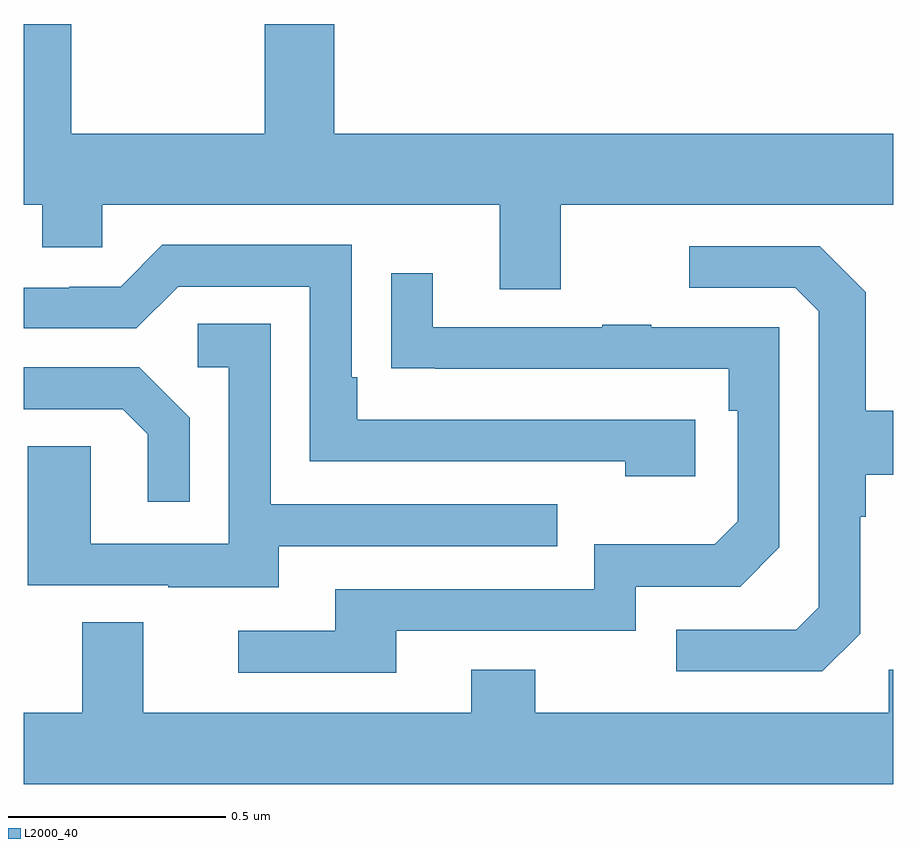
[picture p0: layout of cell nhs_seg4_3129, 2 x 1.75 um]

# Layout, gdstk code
import gdstk
lib = gdstk.Library(unit=1e-6, precision=1e-09)
def P(c, l, *ps):  # polygons
    for p in ps: c.add(gdstk.Polygon(p, *l))
L2000_40 = (2000, 40)

nhs_seg4_3129 = lib.new_cell('nhs_seg4_3129')
P(nhs_seg4_3129, L2000_40, [(150.235,799.484),(151,799.484),(151,799.648),(149.714,799.648),(149.714,799.9),(149.554,799.9),(149.554,799.648),(149.109,799.648),(149.109,799.9),(149,799.9),(149,799.484),(149.043,799.484),(149.043,799.386),(149.181,799.386),(149.181,799.484),(150.095,799.484),(150.095,799.29),(150.235,799.29)],
  [(150.544,798.99),(149.767,798.99),(149.767,799.087),(149.754,799.087),(149.754,799.392),(149.319,799.392),(149.223,799.296),(149.105,799.296),(149.105,799.293),(149,799.293),(149,799.2),(149.259,799.2),(149.355,799.296),(149.658,799.296),(149.658,798.894),(150.383,798.894),(150.383,798.86),(150.544,798.86)],
  [(150.924,798.498),(150.924,798.767),(150.937,798.767),(150.937,798.863),(151,798.863),(151,799.011),(150.937,799.011),(150.937,799.283),(150.831,799.389),(150.531,799.389),(150.531,799.293),(150.774,799.293),(150.828,799.239),(150.828,798.558),(150.777,798.507),(150.501,798.507),(150.501,798.411),(150.837,798.411)],
  [(149.857,798.504),(150.408,798.504),(150.408,798.606),(150.648,798.606),(150.738,798.696),(150.738,799.203),(150.443,799.203),(150.443,799.208),(150.331,799.208),(150.331,799.203),(149.941,799.203),(149.941,799.327),(149.845,799.327),(149.845,799.108),(149.947,799.108),(149.947,799.107),(150.622,799.107),(150.622,799.01),(150.642,799.01),(150.642,798.756),(150.589,798.703),(150.312,798.703),(150.312,798.6),(149.717,798.6),(149.717,798.504),(149.493,798.504),(149.493,798.408),(149.857,798.408)],
  [(149.587,798.699),(150.227,798.699),(150.227,798.795),(149.568,798.795),(149.568,799.211),(149.4,799.211),(149.4,799.11),(149.472,799.11),(149.472,798.705),(149.154,798.705),(149.154,798.929),(149.009,798.929),(149.009,798.609),(149.333,798.609),(149.333,798.605),(149.587,798.605)],
  [(149.382,798.994),(149.266,799.11),(149,799.11),(149,799.014),(149.228,799.014),(149.285,798.957),(149.285,798.801),(149.382,798.801)],
  [(151,798.415),(150.99,798.415),(150.99,798.316),(150.177,798.316),(150.177,798.415),(150.029,798.415),(150.029,798.316),(149.275,798.316),(149.275,798.524),(149.135,798.524),(149.135,798.316),(149,798.316),(149,798.152),(151,798.152)])

lib.write_gds('nhs_seg4_3129.gds')
